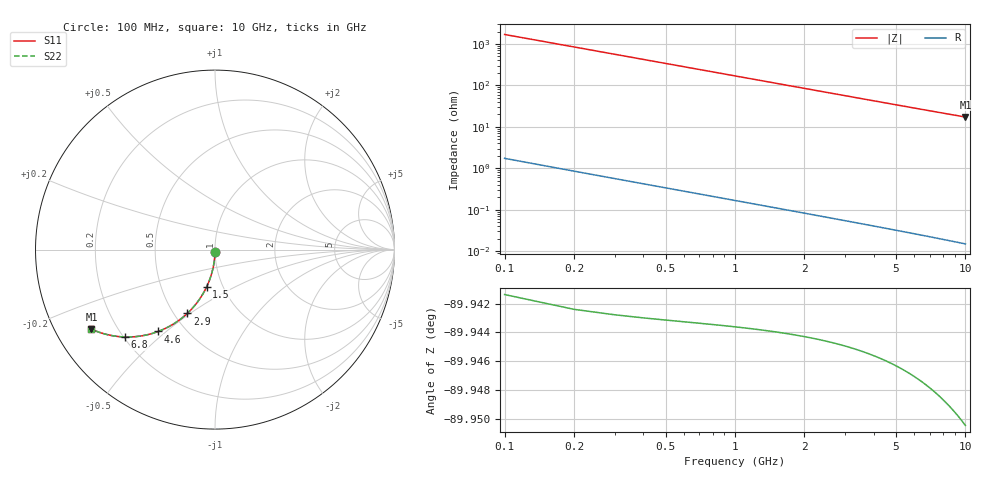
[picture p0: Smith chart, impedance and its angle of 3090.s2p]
# Hz S RI R 50.00
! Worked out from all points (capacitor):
!   100 points, 100 MHz to 10 GHz, reference 50 ohm
!   read as one part in shunt: C = 938 fF near 100 MHz
!   lowest |Z| = 17.3 ohm at 10 GHz (marker M1)
!   S11 on the Smith chart (normalised r, x): 100 MHz: 1.00, -0.03; 1.5 GHz: 0.84, -0.37; 2.9 GHz: 0.58, -0.49; 4.6 GHz: 0.36, -0.47; 6.8 GHz: 0.20, -0.39; 10 GHz: 0.11, -0.29
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1e8  -0.00014 -0.0145  0.9997 -0.0149  0.9997 -0.0149  -0.00014 -0.0145
2e8  -0.000804 -0.0291  0.999 -0.0298  0.999 -0.0298  -0.000804 -0.0291
3e8  -0.0019 -0.0435  0.9979 -0.0446  0.9979 -0.0446  -0.0019 -0.0435
4e8  -0.00342 -0.058  0.9964 -0.0594  0.9964 -0.0594  -0.00342 -0.058
5e8  -0.00537 -0.0723  0.9944 -0.0742  0.9944 -0.0742  -0.00537 -0.0723
6e8  -0.00774 -0.0866  0.9921 -0.0888  0.9921 -0.0888  -0.00774 -0.0866
7e8  -0.0105 -0.1007  0.9893 -0.1033  0.9893 -0.1033  -0.0105 -0.1007
9e8  -0.0173 -0.1286  0.9825 -0.1319  0.9825 -0.1319  -0.0173 -0.1286
1.2e9  -0.0304 -0.1691  0.9694 -0.1736  0.9694 -0.1736  -0.0304 -0.1691
1.5e9  -0.0466 -0.2078  0.9531 -0.2134  0.9531 -0.2134  -0.0466 -0.2078
1.8e9  -0.0658 -0.2443  0.934 -0.251  0.934 -0.251  -0.0658 -0.2443
2.3e9  -0.1032 -0.2996  0.8966 -0.3081  0.8966 -0.3081  -0.1032 -0.2996
2.9e9  -0.1547 -0.3558  0.8451 -0.3666  0.8451 -0.3666  -0.1547 -0.3558
3.4e9  -0.201 -0.394  0.7987 -0.4067  0.7987 -0.4067  -0.201 -0.394
4e9  -0.2585 -0.4299  0.7412 -0.4448  0.7412 -0.4448  -0.2585 -0.4299
4.6e9  -0.3157 -0.4558  0.684 -0.473  0.684 -0.473  -0.3157 -0.4558
5.1e9  -0.3621 -0.4706  0.6375 -0.4897  0.6375 -0.4897  -0.3621 -0.4706
5.9e9  -0.4321 -0.4838  0.5675 -0.506  0.5675 -0.506  -0.4321 -0.4838
6.7e9  -0.4957 -0.4869  0.5038 -0.5121  0.5038 -0.5121  -0.4957 -0.4869
6.8e9  -0.5031 -0.4867  0.4963 -0.5123  0.4963 -0.5123  -0.5031 -0.4867
8.4e9  -0.6081 -0.4717  0.3912 -0.5035  0.3912 -0.5035  -0.6081 -0.4717
1e10  -0.6885 -0.4434  0.3106 -0.4814  0.3106 -0.4814  -0.6885 -0.4434
